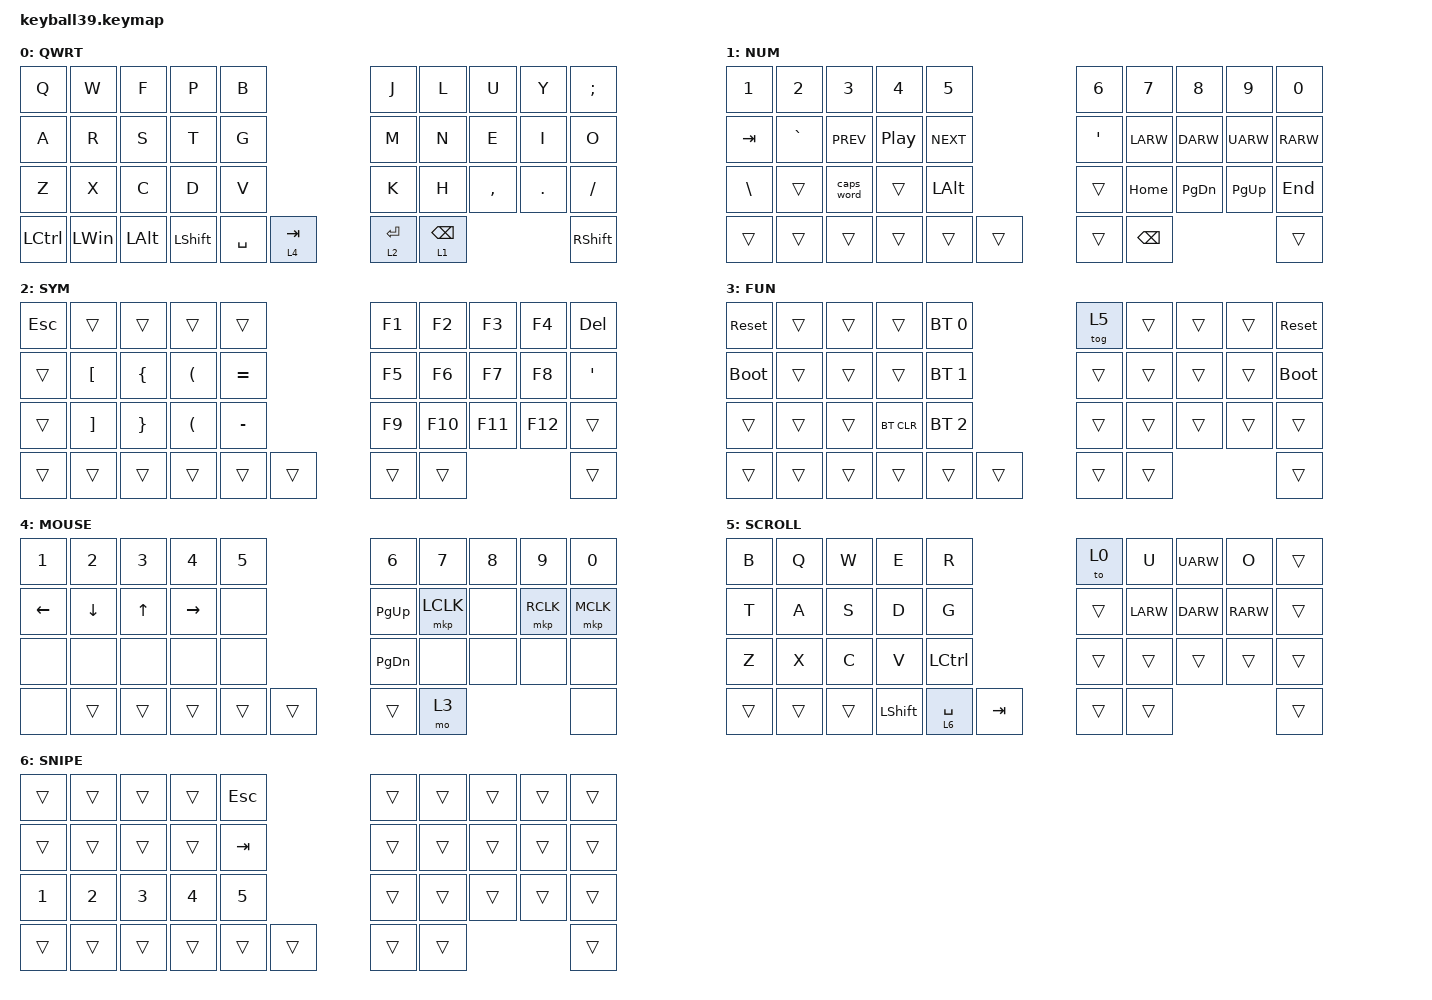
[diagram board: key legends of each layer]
#define DEFAULT 0
#define NUM     1
#define SYM     2
#define FUN     3
#define MOUSE   4
#define SCROLL  5
#define SNIPE   6

#include <behaviors/mouse_keys.dtsi>
#include <dt-bindings/zmk/mouse.h>
#include <behaviors.dtsi>
#include <dt-bindings/zmk/bt.h>
#include <dt-bindings/zmk/keys.h>
#include <dt-bindings/zmk/mouse.h>

&lt {
    tapping-term-ms = <240>;
    flavor = "balanced";
    quick-tap-ms = <150>;
};

&mt {
    tapping-term-ms = <200>;
    flavor = "tap-preferred";
    quick-tap-ms = <150>;
};

&caps_word { continue-list = <UNDERSCORE MINUS>; };

/ {
    // custom shift using mod-morph 

    behaviors {
        cmqus: comma_question {
            compatible = "zmk,behavior-mod-morph,behaviour-hold-tap";
            label = "COMMA_QUESTION";
            #binding-cells = <0>;
            bindings = <&kp COMMA>, <&kp QUESTION>;

            mods = <(MOD_LSFT|MOD_RSFT)>;
        };

        dtsmi: dot_semi {
            compatible = "zmk,behavior-mod-morph";
            label = "DOT_SEMI";
            #binding-cells = <0>;
            bindings = <&kp DOT>, <&kp SEMI>;

            mods = <(MOD_LSFT|MOD_RSFT)>;
        };
    };

    macros {
        Hiragana: Hiragana {
            compatible = "zmk,behavior-macro";
            #binding-cells = <0>;
            bindings = <&kp LC(SPACE)>;
            label = "HIRAGANA";
        };
    };

    conditional_layers {
        compatible = "zmk,conditional-layers";
        tri_layer {
            if-layers = <1 2>;
            then-layer = <3>;
        };
    };

    keymap {
        compatible = "zmk,keymap";

        default_layer {
            label = "QWRT";
            bindings = <
&kp Q      &kp W         &kp F     &kp P         &kp B                                    &kp J            &kp L  &kp U      &kp Y    &kp SEMI
&kp A      &kp R         &kp S     &kp T         &kp G                                    &kp M            &kp N  &kp E      &kp I    &kp O
&kp Z      &kp X         &kp C     &kp D         &kp V                                    &kp K            &kp H  &kp COMMA  &kp DOT  &kp SLASH
&kp LCTRL  &kp LEFT_WIN  &kp LALT  &kp LSHFT     &kp SPACE  &lt 4 TAB                     &lt 2 ENTER      &lt 1 BACKSPACE            &kp RSHFT
            >;
        };

        number_layer {
            label = "NUM";
            bindings = <
&kp N1     &kp N2        &kp N3        &kp N4        &kp N5                        &kp N6        &kp N7        &kp N8        &kp N9        &kp N0
&kp TAB    &kp GRAVE     &kp C_PREV    &kp C_PP      &kp C_NEXT                    &kp SQT       &kp LARW      &kp DARW      &kp UARW      &kp RARW
&kp BSLH   &trans        &caps_word    &trans        &kp LALT                      &trans        &kp HOME      &kp PG_DN     &kp PG_UP     &kp END
&trans     &trans        &trans        &trans        &trans        &trans          &trans        &kp BACKSPACE                             &trans
            >;
        };

        symbol_layer {
            label = "SYM";
            bindings = <
&kp ESC          &trans        &trans        &trans        &trans                       &kp F1          &kp F2         &kp F3            &kp F4  &kp DEL
&trans           &kp LBKT      &kp LBRC      &kp LPAR      &kp EQUAL                    &kp F5          &kp F6         &kp F7            &kp F8  &kp SQT
&trans           &kp RBKT      &kp RBRC      &kp LPAR      &kp MINUS                    &kp F9          &kp F10        &kp F11           &kp F12 &trans
&trans           &trans        &trans        &trans        &trans       &trans          &trans          &trans                                   &trans
            >;
        };

        function_layer {
            label = "FUN";
            bindings = <
&sys_reset  &trans   &trans   &trans     &bt BT_SEL 0                   &tog 5   &trans  &trans  &trans  &sys_reset
&bootloader &trans   &trans   &trans     &bt BT_SEL 1                   &trans   &trans  &trans  &trans  &bootloader
&trans      &trans   &trans   &bt BT_CLR &bt BT_SEL 2                   &trans   &trans  &trans  &trans  &trans
&trans      &trans   &trans   &trans     &trans  &trans                 &trans   &trans                  &trans
            >;
        };

        mouse_layer {
            label = "MOUSE";
            bindings = <
&kp N1          &kp N2          &kp N3        &kp N4     &kp N5                  &kp N6         &kp N7     &kp N8  &kp N9     &kp N0
&kp LEFT_ARROW  &kp DOWN_ARROW  &kp UP_ARROW  &kp RIGHT  &none                   &kp PAGE_UP    &mkp LCLK  &none   &mkp RCLK  &mkp MCLK
&none           &none           &none         &none      &none                   &kp PAGE_DOWN  &none      &none   &none      &none
&none           &trans          &trans        &trans     &trans  &trans  &trans  &mo 3                                        &none
            >;
        };

        game_layer {
            label = "SCROLL";
            bindings = <
&kp B   &kp Q   &kp W   &kp E     &kp R                   &to 0   &kp U    &kp UARW &kp O    &trans
&kp T   &kp A   &kp S   &kp D     &kp G                   &trans  &kp LARW &kp DARW &kp RARW &trans
&kp Z   &kp X   &kp C   &kp V     &kp LCTRL               &trans  &trans   &trans   &trans   &trans
&trans  &trans  &trans  &kp LSHFT &lt 6 SPACE  &kp TAB          &trans  &trans                     &trans
            >;
        };

        snipe_layer {
            label = "SNIPE";
            bindings = <
&trans  &trans  &trans  &trans  &kp ESC                  &trans  &trans  &trans  &trans  &trans
&trans  &trans  &trans  &trans  &kp TAB                      &trans  &trans  &trans  &trans  &trans
&kp N1  &kp N2  &kp N3  &kp N4  &kp N5                       &trans  &trans  &trans  &trans  &trans
&trans  &trans  &trans  &trans  &trans       &trans  &trans  &trans                          &trans
            >;
        };
    };
};
